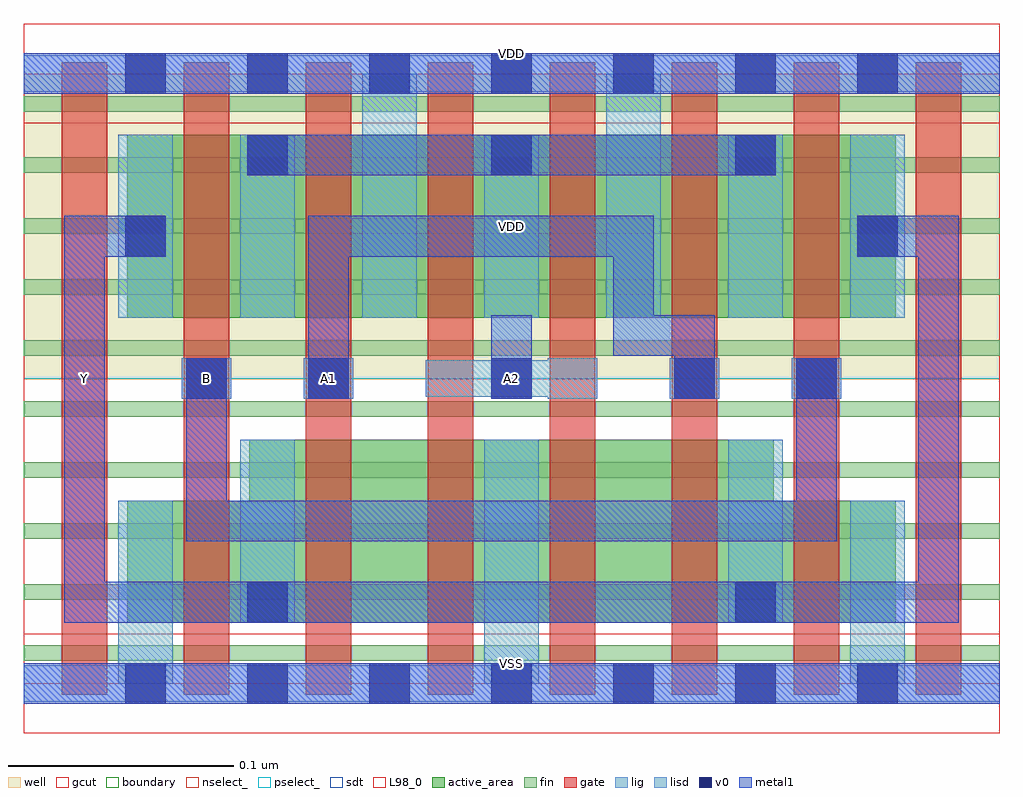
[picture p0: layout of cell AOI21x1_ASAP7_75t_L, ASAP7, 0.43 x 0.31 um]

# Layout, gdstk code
import gdstk
lib = gdstk.Library(unit=1e-6, precision=2.5e-10)
def R(c, l, rs):  # rectangles x0, y0, x1, y1
    for r in rs: c.add(gdstk.rectangle(r[:2], r[2:], *l))
def A(c, l, x, y, w, h, nx, ny, dx, dy):  # array of equal rectangles
    R(c, l, [(x+i*dx, y+j*dy, x+i*dx+w, y+j*dy+h) for i in range(nx) for j in range(ny)])
def P(c, l, *ps):  # polygons
    for p in ps: c.add(gdstk.Polygon(p, *l))
well = (1, 0)
fin = (2, 0)
gate = (7, 0)
gcut = (10, 0)
active_area = (11, 0)
nselect_ = (12, 0)
pselect_ = (13, 0)
lig = (16, 0)
lisd = (17, 0)
v0 = (18, 0)
metal1 = (19, 0)
sdt = (88, 0)
L98_0 = (98, 0)
boundary = (100, 0)

aoi21x1_asap7_75t_l = lib.new_cell('AOI21x1_ASAP7_75t_L')
R(aoi21x1_asap7_75t_l, well, [(0,0.135,0.432,0.27)])
A(aoi21x1_asap7_75t_l, fin, 0, 0.01, 0.432, 0.007, 1, 10, 0, 0.027)
A(aoi21x1_asap7_75t_l, gate, 0.017, -0.005, 0.02, 0.28, 8, 1, 0.054, 0)
R(aoi21x1_asap7_75t_l, gcut, [(0,-0.022,0.432,0.022), (0,0.248,0.432,0.292)])
R(aoi21x1_asap7_75t_l, active_area, [(0.046,0.162,0.386,0.243)])
P(aoi21x1_asap7_75t_l, active_area, [(0.386,0.081),(0.332,0.081),(0.332,0.108),(0.1,0.108),(0.1,0.081),(0.046,0.081),(0.046,0.027),(0.386,0.027)])
R(aoi21x1_asap7_75t_l, nselect_, [(0,0,0.432,0.135)])
R(aoi21x1_asap7_75t_l, pselect_, [(0,0.135,0.432,0.27)])
A(aoi21x1_asap7_75t_l, lig, 0.232, 0.126, 0.022, 0.018, 3, 1, 0.054, 0)
R(aoi21x1_asap7_75t_l, lig, [(0,-0.008,0.432,0.008), (0.07,0.126,0.092,0.144), (0.124,0.126,0.146,0.144), (0.178,0.127,0.254,0.143), (0,0.262,0.432,0.278)])
A(aoi21x1_asap7_75t_l, lisd, 0.096, 0.162, 0.024, 0.081, 3, 1, 0.108, 0)
R(aoi21x1_asap7_75t_l, lisd, [(0.042,0,0.066,0.081), (0.042,0,0.066,0.081), (0.204,0,0.228,0.108), (0.204,0,0.228,0.108), (0.366,0,0.39,0.081), (0.366,0,0.39,0.081), (0.096,0.027,0.12,0.108), (0.312,0.027,0.336,0.108), (0.042,0.162,0.066,0.243), (0.15,0.162,0.174,0.27), (0.15,0.162,0.174,0.27), (0.258,0.162,0.282,0.27), (0.258,0.162,0.282,0.27), (0.366,0.162,0.39,0.243)])
A(aoi21x1_asap7_75t_l, v0, 0.045, -0.009, 0.018, 0.018, 7, 2, 0.054, 0.27)
A(aoi21x1_asap7_75t_l, v0, 0.126, 0.126, 0.018, 0.018, 3, 1, 0.081, 0)
A(aoi21x1_asap7_75t_l, v0, 0.099, 0.225, 0.018, 0.018, 3, 1, 0.108, 0)
R(aoi21x1_asap7_75t_l, v0, [(0.099,0.027,0.117,0.045), (0.315,0.027,0.333,0.045), (0.072,0.126,0.09,0.144), (0.342,0.126,0.36,0.144), (0.045,0.189,0.063,0.207), (0.369,0.189,0.387,0.207)])
A(aoi21x1_asap7_75t_l, metal1, 0.126, 0.126, 0.018, 0.018, 3, 1, 0.081, 0)
A(aoi21x1_asap7_75t_l, metal1, 0.099, 0.225, 0.018, 0.018, 3, 1, 0.108, 0)
R(aoi21x1_asap7_75t_l, metal1, [(0,-0.009,0.432,0.009), (0.099,0.027,0.117,0.045), (0.315,0.027,0.333,0.045), (0.072,0.126,0.09,0.144), (0.207,0.126,0.225,0.163), (0.342,0.126,0.36,0.144), (0.045,0.189,0.063,0.207), (0.369,0.189,0.387,0.207), (0.099,0.225,0.333,0.243), (0,0.261,0.432,0.279)])
P(aoi21x1_asap7_75t_l, metal1, [(0.369,0.207),(0.369,0.189),(0.396,0.189),(0.396,0.045),(0.036,0.045),(0.036,0.189),(0.063,0.189),(0.063,0.207),(0.018,0.207),(0.018,0.027),(0.414,0.027),(0.414,0.207)],
  [(0.342,0.144),(0.342,0.081),(0.09,0.081),(0.09,0.144),(0.072,0.144),(0.072,0.063),(0.36,0.063),(0.36,0.144)],
  [(0.288,0.126),(0.306,0.126),(0.306,0.163),(0.279,0.163),(0.279,0.207),(0.126,0.207),(0.126,0.126),(0.144,0.126),(0.144,0.189),(0.261,0.189),(0.261,0.145),(0.288,0.145)])
A(aoi21x1_asap7_75t_l, sdt, 0.042, 0.162, 0.024, 0.081, 3, 1, 0.054, 0)
A(aoi21x1_asap7_75t_l, sdt, 0.15, 0.162, 0.024, 0.081, 3, 1, 0.054, 0)
A(aoi21x1_asap7_75t_l, sdt, 0.258, 0.162, 0.024, 0.081, 3, 1, 0.054, 0)
R(aoi21x1_asap7_75t_l, sdt, [(0.042,0.027,0.066,0.081), (0.042,0.027,0.066,0.081), (0.096,0.027,0.12,0.108), (0.204,0.027,0.228,0.108), (0.204,0.027,0.228,0.108), (0.312,0.027,0.336,0.108), (0.366,0.027,0.39,0.081), (0.366,0.027,0.39,0.081)])
R(aoi21x1_asap7_75t_l, L98_0, [(0,0,0.432,0.27)])
R(aoi21x1_asap7_75t_l, boundary, [(0,0,0.432,0.27)])
aoi21x1_asap7_75t_l.add(gdstk.Label('VDD', (0.216,0.2025), layer=1, texttype=251))
aoi21x1_asap7_75t_l.add(gdstk.Label('VSS', (0.216,-0.0675), layer=3, texttype=251))
aoi21x1_asap7_75t_l.add(gdstk.Label('VSS', (0.216,0.009), layer=19, texttype=251))
aoi21x1_asap7_75t_l.add(gdstk.Label('VDD', (0.216,0.279), layer=19, texttype=251))
aoi21x1_asap7_75t_l.add(gdstk.Label('Y', (0.027,0.135), layer=19, texttype=251))
aoi21x1_asap7_75t_l.add(gdstk.Label('B', (0.081,0.135), layer=19, texttype=251))
aoi21x1_asap7_75t_l.add(gdstk.Label('A1', (0.135,0.135), layer=19, texttype=251))
aoi21x1_asap7_75t_l.add(gdstk.Label('A2', (0.216,0.135), layer=19, texttype=251))

lib.write_gds('AOI21x1_ASAP7_75t_L.gds')
